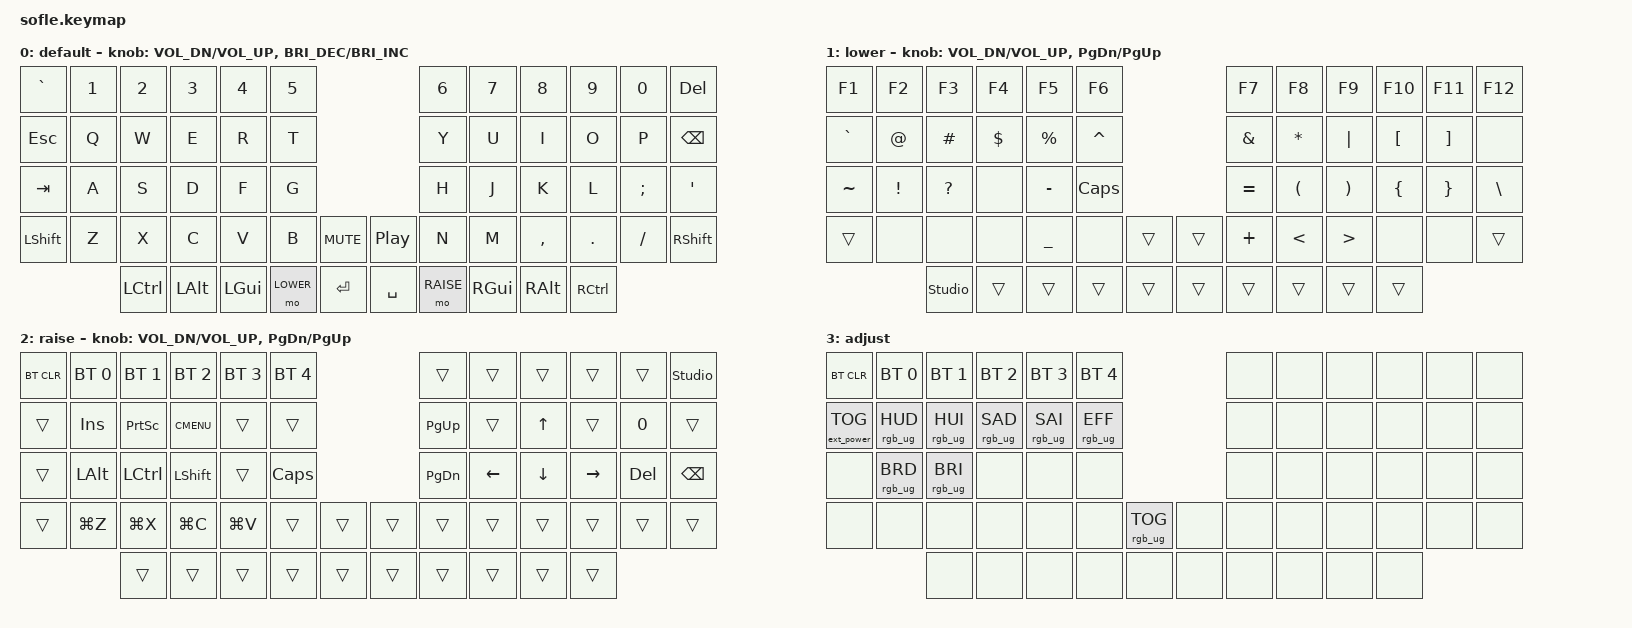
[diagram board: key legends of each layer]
/*
 * Copyright (c) 2020 The ZMK Contributors
 *
 * SPDX-License-Identifier: MIT
 */

#include <behaviors.dtsi>
#include <dt-bindings/zmk/bt.h>
#include <dt-bindings/zmk/ext_power.h>
#include <dt-bindings/zmk/keys.h>
#include <dt-bindings/zmk/rgb.h>

#define BASE 0
#define LOWER 1
#define RAISE 2
#define ADJUST 3

/ {
    // Activate ADJUST layer by pressing raise and lower

    conditional_layers {
        compatible = "zmk,conditional-layers";

        adjust_layer {
            if-layers = <LOWER RAISE>;
            then-layer = <ADJUST>;
        };
    };

    keymap {
        compatible = "zmk,keymap";

        default_layer {
            display-name = "default";

            // ------------------------------------------------------------------------------------------------------------
            // |   `   |  1  |  2  |  3   |  4   |  5   |                   |  6   |  7    |  8    |  9   |   0   |  DEL  |
            // |  ESC  |  Q  |  W  |  E   |  R   |  T   |                   |  Y   |  U    |  I    |  O   |   P   | BKSPC |
            // |  TAB  |  A  |  S  |  D   |  F   |  G   |                   |  H   |  J    |  K    |  L   |   ;   |   '   |
            // | SHIFT |  Z  |  X  |  C   |  V   |  B   |  MUTE  |  | PLAY  |  N   |  M    |  ,    |  .   |   /   | SHIFT |
            //               | CTRL | ALT | GUI  | LOWER|  ENTER |  | SPACE | RAISE| GUI   | ALT   | CTRL |

            bindings = <
&kp GRAVE  &kp N1  &kp N2     &kp N3    &kp N4    &kp N5                              &kp N6     &kp N7    &kp N8     &kp N9    &kp N0     &kp DEL
&kp ESC    &kp Q   &kp W      &kp E     &kp R     &kp T                               &kp Y      &kp U     &kp I      &kp O     &kp P      &kp BSPC
&kp TAB    &kp A   &kp S      &kp D     &kp F     &kp G                               &kp H      &kp J     &kp K      &kp L     &kp SEMI   &kp SQT
&kp LSHFT  &kp Z   &kp X      &kp C     &kp V     &kp B      &kp C_MUTE    &kp C_PP   &kp N      &kp M     &kp COMMA  &kp DOT   &kp FSLH   &kp RSHFT
                   &kp LCTRL  &kp LALT  &kp LGUI  &mo LOWER  &kp RET       &kp SPACE  &mo RAISE  &kp RGUI  &kp RALT   &kp RCTRL
            >;

            sensor-bindings =
                <&inc_dec_kp C_VOL_DN C_VOL_UP>,
                <&inc_dec_kp C_BRIGHTNESS_DEC C_BRIGHTNESS_INC>;
        };

        lower_layer {
            display-name = "lower";

            // ------------------------------------------------------------------------------------------------------------
            // |  F1   |  F2 |  F3 |  F4  |  F5  |  F6  |                   |  F7  |  F8   |  F9   |  F10 |  F11  |  F12  |
            // |   `   |  @  |  #  |  $   |  %   |  ^   |                   |  &   |  *    |  |    |  [   |   ]   |       |
            // |   ~   |  !  |  ?  |      |  -   | CAPS |                   |  =   |  (    |  )    |  {   |   }   |   \   |
            // |       |     |     |      |  _   |      |        |  |       |  +   |  <    |  >    |      |       |       |
            //               |UNLOCK|     |      |      |        |  |       |      |       |       |      |

            bindings = <
&kp F1     &kp F2    &kp F3          &kp F4    &kp F5     &kp F6                       &kp F7     &kp F8    &kp F9    &kp F10   &kp F11   &kp F12
&kp GRAVE  &kp AT    &kp HASH        &kp DLLR  &kp PRCNT  &kp CARET                    &kp AMPS   &kp STAR  &kp PIPE  &kp LBKT  &kp RBKT  &none
&kp TILDE  &kp EXCL  &kp QMARK       &none     &kp MINUS  &kp CAPS                     &kp EQUAL  &kp LPAR  &kp RPAR  &kp LBRC  &kp RBRC  &kp BSLH
&trans     &none     &none           &none     &kp UNDER  &none      &trans    &trans  &kp PLUS   &kp LT    &kp GT    &none     &none     &trans
                     &studio_unlock  &trans    &trans     &trans     &trans    &trans  &trans     &trans    &trans    &trans
            >;

            sensor-bindings =
                <&inc_dec_kp C_VOL_DN C_VOL_UP>,
                <&inc_dec_kp PG_DN PG_UP>;
        };

        raise_layer {
            display-name = "raise";

            // ------------------------------------------------------------------------------------------------------------
            // | BTCLR | BT1  | BT2  |  BT3  |  BT4  |  BT5 |                |      |      |       |      |       |UNLOCK |
            // |       | INS  | PSCR | MENU  |       |      |                | PGUP |      |   ^   |      |   0   |       |
            // |       | ALT  | CTRL | SHIFT |       | CAPS |                | PGDN |   <- |   v   |  ->  |  DEL  | BKSPC |
            // |       | ⌘Z   | ⌘X   | ⌘C    | ⌘V    |      |      |  |      |      |      |       |      |       |       |
            //                |      |       |       |      |      |  |      |      |      |       |      |

            bindings = <
&bt BT_CLR  &bt BT_SEL 0  &bt BT_SEL 1  &bt BT_SEL 2  &bt BT_SEL 3  &bt BT_SEL 4                    &trans     &trans    &trans    &trans     &trans   &studio_unlock
&trans      &kp INS       &kp PSCRN     &kp K_CMENU   &trans        &trans                          &kp PG_UP  &trans    &kp UP    &trans     &kp N0   &trans
&trans      &kp LALT      &kp LCTRL     &kp LSHFT     &trans        &kp CLCK                        &kp PG_DN  &kp LEFT  &kp DOWN  &kp RIGHT  &kp DEL  &kp BSPC
&trans      &kp LG(Z)     &kp LG(X)     &kp LG(C)     &kp LG(V)     &trans        &trans    &trans  &trans     &trans    &trans    &trans     &trans   &trans
                          &trans        &trans        &trans        &trans        &trans    &trans  &trans     &trans    &trans    &trans
            >;

            sensor-bindings =
                <&inc_dec_kp C_VOL_DN C_VOL_UP>,
                <&inc_dec_kp PG_DN PG_UP>;
        };

        adjust_layer {
            // ----------------------------------------------------------------------------------------------------------------------------
            // | BTCLR  |  BT1    |  BT2    |   BT3   |   BT4   |   BT5   |                  |      |      |       |      |       |       |
            // | EXTPWR | RGB_HUD | RGB_HUI | RGB_SAD | RGB_SAI | RGB_EFF |                  |      |      |       |      |       |       |
            // |        | RGB_BRD | RGB_BRI |         |         |         |                  |      |      |       |      |       |       |
            // |        |         |         |         |         |         | RGB_TOG | |      |      |      |       |      |       |       |
            //                    |         |         |         |         |         | |      |      |      |       |      |

            display-name = "adjust";
            bindings = <
&bt BT_CLR         &bt BT_SEL 0     &bt BT_SEL 1     &bt BT_SEL 2     &bt BT_SEL 3     &bt BT_SEL 4                               &none  &none  &none  &none  &none  &none
&ext_power EP_TOG  &rgb_ug RGB_HUD  &rgb_ug RGB_HUI  &rgb_ug RGB_SAD  &rgb_ug RGB_SAI  &rgb_ug RGB_EFF                            &none  &none  &none  &none  &none  &none
&none              &rgb_ug RGB_BRD  &rgb_ug RGB_BRI  &none            &none            &none                                      &none  &none  &none  &none  &none  &none
&none              &none            &none            &none            &none            &none            &rgb_ug RGB_TOG    &none  &none  &none  &none  &none  &none  &none
                                    &none            &none            &none            &none            &none              &none  &none  &none  &none  &none
            >;
        };
    };
};
